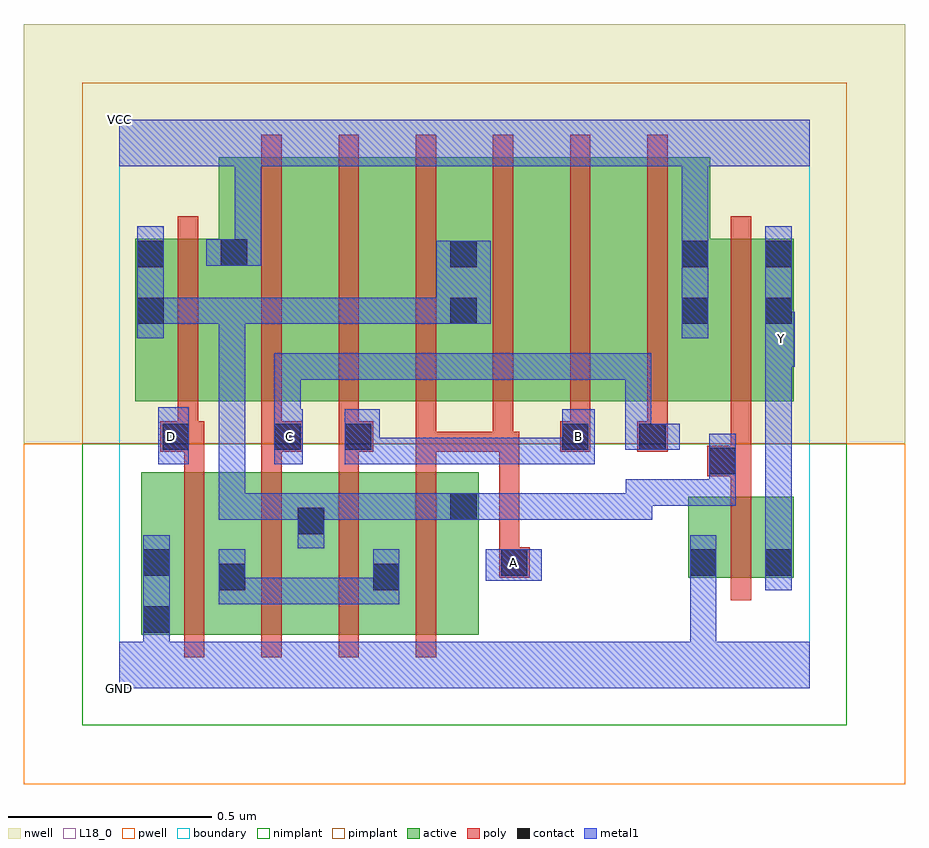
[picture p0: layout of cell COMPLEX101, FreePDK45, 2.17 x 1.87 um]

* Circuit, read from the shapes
.subckt COMPLEX101 A B C D GND VCC Y
M1 n1 D GND VSUBS nfet w=0.4u l=0.05u
M2 n2 C n1 VSUBS nfet w=0.4u l=0.05u
M3 n1 B n2 VSUBS nfet w=0.4u l=0.05u
M4 n2 A n1 VSUBS nfet w=0.4u l=0.05u
M5 Y n2 GND VSUBS nfet w=0.2u l=0.05u
M6 VCC D n2 n3 pfet w=0.4u l=0.05u
M7 n4 C VCC n3 pfet w=0.6u l=0.05u
M8 n5 B n4 n3 pfet w=0.6u l=0.05u
M9 n2 A n5 n3 pfet w=0.6u l=0.05u
M10 n6 A n2 n3 pfet w=0.6u l=0.05u
M11 n7 B n6 n3 pfet w=0.6u l=0.05u
M12 VCC C n7 n3 pfet w=0.6u l=0.05u
M13 Y n2 VCC n3 pfet w=0.4u l=0.05u
.ends

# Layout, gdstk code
import gdstk
lib = gdstk.Library(unit=1e-6, precision=1e-09)
def R(c, l, rs):  # rectangles x0, y0, x1, y1
    for r in rs: c.add(gdstk.rectangle(r[:2], r[2:], *l))
def A(c, l, x, y, w, h, nx, ny, dx, dy):  # array of equal rectangles
    R(c, l, [(x+i*dx, y+j*dy, x+i*dx+w, y+j*dy+h) for i in range(nx) for j in range(ny)])
active = (1, 0)
pwell = (2, 0)
nwell = (3, 0)
nimplant = (4, 0)
pimplant = (5, 0)
poly = (9, 0)
contact = (10, 0)
metal1 = (11, 0)
L18_0 = (18, 0)
boundary = (235, 0)

complex101 = lib.new_cell('COMPLEX101')
R(complex101, active, [(0.055,0.132,0.315,0.532), (0.055,0.132,0.13,0.532), (0.24,0.132,0.51,0.532), (0.435,0.132,0.695,0.532), (0.62,0.132,0.885,0.532), (0.24,0.147,0.315,0.492), (0.435,0.147,0.51,0.492), (0.62,0.147,0.695,0.492), (0.81,0.147,0.885,0.532), (1.4,0.272,1.475,0.472), (1.4,0.272,1.66,0.472), (1.585,0.272,1.66,0.472), (0.04,0.707,0.115,1.107), (0.04,0.707,0.32,1.107), (0.245,0.707,0.47,1.307), (0.47,0.707,0.66,1.307), (0.66,0.707,0.885,1.307), (0.81,0.707,1.04,1.307), (0.81,0.707,0.885,1.2), (1.04,0.707,1.23,1.307), (1.23,0.707,1.455,1.307), (1.38,0.707,1.66,1.107), (1.38,0.707,1.455,1.307), (1.585,0.707,1.66,1.107), (0.245,0.855,0.32,1.11)])
R(complex101, pwell, [(-0.235,-0.235,1.935,0.602)])
R(complex101, nwell, [(-0.235,0.602,1.935,1.635)])
R(complex101, nimplant, [(-0.09,-0.09,1.79,0.602)])
R(complex101, pimplant, [(-0.09,0.602,1.79,1.49)])
A(complex101, poly, 0.16, 0.077, 0.05, 0.51, 4, 1, 0.19, 0)
A(complex101, poly, 0.16, 0.537, 0.05, 0.095, 4, 1, 0.19, 0)
A(complex101, poly, 0.35, 0.652, 0.05, 0.71, 6, 1, 0.19, 0)
R(complex101, poly, [(1.505,0.217,1.555,0.527), (0.935,0.272,1.01,0.347), (0.935,0.297,0.985,0.632), (1.505,0.477,1.555,0.572), (1.447,0.522,1.555,0.597), (1.505,0.547,1.555,0.702), (0.102,0.582,0.21,0.657), (0.35,0.582,0.452,0.657), (0.54,0.582,0.625,0.657), (0.73,0.582,0.78,0.702), (0.73,0.582,0.78,0.632), (0.73,0.582,0.78,0.632), (0.73,0.582,0.78,0.632), (0.73,0.582,0.97,0.632), (0.92,0.582,0.97,0.702), (0.92,0.582,0.985,0.632), (0.935,0.582,0.985,0.632), (0.935,0.582,0.985,0.632), (1.085,0.582,1.16,0.657), (1.275,0.582,1.35,0.657), (0.145,0.607,0.195,0.702), (0.35,0.607,0.4,0.702), (0.54,0.607,0.59,0.702), (1.11,0.607,1.16,0.702), (1.3,0.607,1.35,0.702), (0.145,0.652,0.195,1.162), (1.505,0.652,1.555,1.162)])
R(complex101, contact, [(0.06,0.137,0.125,0.202), (0.245,0.242,0.31,0.307), (0.625,0.242,0.69,0.307), (0.06,0.277,0.125,0.342), (0.94,0.277,1.005,0.342), (1.405,0.277,1.47,0.342), (1.59,0.277,1.655,0.342), (0.44,0.38,0.505,0.445), (0.815,0.415,0.88,0.48), (1.452,0.527,1.517,0.592), (0.107,0.587,0.172,0.652), (0.382,0.587,0.447,0.652), (0.555,0.587,0.62,0.652), (1.09,0.587,1.155,0.652), (1.28,0.587,1.345,0.652), (0.045,0.897,0.11,0.962), (0.815,0.897,0.88,0.962), (1.385,0.897,1.45,0.962), (1.59,0.897,1.655,0.962), (0.045,1.037,0.11,1.102), (0.815,1.037,0.88,1.102), (1.385,1.037,1.45,1.102), (1.59,1.037,1.655,1.102), (0.25,1.04,0.315,1.105)])
R(complex101, metal1, [(0,0,1.7,0.115), (0.06,0.05,0.125,0.167), (1.405,0.05,1.47,0.115), (1.405,0.05,1.47,0.115), (1.405,0.05,1.47,0.307), (0.06,0.102,0.125,0.377), (0.245,0.207,0.31,0.272), (0.245,0.207,0.31,0.272), (0.245,0.207,0.31,0.342), (0.245,0.207,0.505,0.272), (0.44,0.207,0.505,0.272), (0.44,0.207,0.652,0.272), (0.587,0.207,0.652,0.272), (0.587,0.207,0.69,0.272), (0.625,0.207,0.69,0.342), (1.405,0.242,1.47,0.307), (1.405,0.242,1.47,0.307), (1.405,0.242,1.47,0.377), (1.59,0.242,1.655,0.377), (0.902,0.265,1.04,0.342), (1.59,0.312,1.655,0.857), (0.44,0.345,0.505,0.48), (0.245,0.415,0.31,0.48), (0.245,0.415,0.31,0.48), (0.245,0.415,0.31,0.48), (0.245,0.415,0.505,0.48), (0.245,0.415,0.31,0.962), (0.44,0.415,0.642,0.48), (0.577,0.415,0.642,0.48), (0.577,0.415,0.642,0.48), (0.577,0.415,0.642,0.48), (0.577,0.415,0.83,0.48), (0.765,0.415,0.83,0.48), (0.765,0.415,0.845,0.48), (0.78,0.415,0.915,0.48), (0.85,0.415,0.972,0.48), (0.907,0.415,0.972,0.48), (0.907,0.415,1.172,0.48), (1.107,0.415,1.172,0.48), (1.107,0.415,1.172,0.48), (1.107,0.415,1.172,0.48), (1.107,0.415,1.312,0.48), (1.247,0.415,1.312,0.48), (1.247,0.415,1.312,0.48), (1.247,0.415,1.312,0.515), (1.247,0.45,1.517,0.515), (1.452,0.45,1.517,0.515), (1.452,0.45,1.517,0.557), (1.452,0.492,1.517,0.557), (1.452,0.492,1.517,0.557), (1.452,0.492,1.517,0.627), (0.097,0.552,0.172,0.692), (0.382,0.552,0.452,0.687), (0.555,0.552,0.642,0.687), (0.577,0.552,0.642,0.617), (0.577,0.552,0.642,0.617), (0.577,0.552,0.83,0.617), (0.765,0.552,0.83,0.617), (0.765,0.552,0.967,0.617), (0.902,0.552,0.967,0.617), (0.902,0.552,0.967,0.617), (0.902,0.552,0.967,0.617), (0.902,0.552,1.155,0.617), (1.09,0.552,1.155,0.617), (1.09,0.552,1.155,0.617), (1.09,0.552,1.17,0.687), (1.245,0.587,1.31,0.652), (1.245,0.587,1.31,0.652), (1.245,0.587,1.38,0.652), (1.245,0.587,1.31,0.825), (0.382,0.622,0.447,0.687), (0.382,0.622,0.447,0.825), (0.382,0.622,0.452,0.687), (0.382,0.76,0.447,0.825), (0.382,0.76,0.642,0.825), (0.577,0.76,0.642,0.825), (0.577,0.76,0.642,0.825), (0.577,0.76,0.642,0.825), (0.577,0.76,0.83,0.825), (0.765,0.76,0.83,0.825), (0.765,0.76,0.972,0.825), (0.907,0.76,0.972,0.825), (0.907,0.76,0.972,0.825), (0.907,0.76,0.972,0.825), (0.907,0.76,1.11,0.825), (1.045,0.76,1.11,0.825), (1.045,0.76,1.11,0.825), (1.045,0.76,1.11,0.825), (1.045,0.76,1.31,0.825), (1.245,0.76,1.31,0.825), (1.59,0.792,1.662,0.927), (0.045,0.862,0.11,1.137), (1.385,0.862,1.45,1.137), (1.59,0.862,1.655,0.927), (1.59,0.862,1.655,1.137), (0.045,0.897,0.11,0.962), (0.045,0.897,0.11,0.962), (0.045,0.897,0.31,0.962), (0.245,0.897,0.31,0.962), (0.245,0.897,0.31,0.962), (0.245,0.897,0.31,0.962), (0.245,0.897,0.31,0.962), (0.245,0.897,0.31,0.962), (0.245,0.897,0.31,0.962), (0.245,0.897,0.31,0.962), (0.245,0.897,0.505,0.962), (0.44,0.897,0.505,0.962), (0.44,0.897,0.642,0.962), (0.577,0.897,0.642,0.962), (0.577,0.897,0.642,0.962), (0.577,0.897,0.642,0.962), (0.577,0.897,0.79,0.962), (0.725,0.897,0.79,0.962), (0.725,0.897,0.845,0.962), (0.78,0.897,0.915,1.102), (0.215,1.04,0.35,1.105), (0.285,1.04,0.35,1.35), (1.385,1.072,1.45,1.35), (0,1.285,1.7,1.4)])
R(complex101, L18_0, [(0,0,1.7,0.115), (0.06,0.05,0.125,0.167), (1.405,0.05,1.47,0.115), (1.405,0.05,1.47,0.115), (1.405,0.05,1.47,0.307), (0.06,0.102,0.125,0.377), (1.405,0.242,1.47,0.307), (1.405,0.242,1.47,0.307), (1.405,0.242,1.47,0.377), (1.59,0.242,1.655,0.377), (0.902,0.265,1.04,0.342), (0.937,0.277,1.002,0.342), (1.59,0.312,1.655,0.857), (0.097,0.552,0.172,0.692), (0.382,0.552,0.452,0.687), (0.555,0.552,0.642,0.687), (0.577,0.552,0.642,0.617), (0.577,0.552,0.642,0.617), (0.577,0.552,0.83,0.617), (0.765,0.552,0.83,0.617), (0.765,0.552,0.967,0.617), (0.902,0.552,0.967,0.617), (0.902,0.552,0.967,0.617), (0.902,0.552,0.967,0.617), (0.902,0.552,1.155,0.617), (1.09,0.552,1.155,0.617), (1.09,0.552,1.155,0.617), (1.09,0.552,1.17,0.687), (0.097,0.587,0.162,0.652), (0.387,0.587,0.452,0.652), (1.097,0.587,1.162,0.652), (1.245,0.587,1.38,0.652), (1.245,0.587,1.31,0.652), (1.245,0.587,1.31,0.652), (1.245,0.587,1.31,0.825), (0.382,0.622,0.452,0.687), (0.382,0.622,0.447,0.687), (0.382,0.622,0.447,0.825), (0.382,0.76,0.447,0.825), (0.382,0.76,0.642,0.825), (0.577,0.76,0.642,0.825), (0.577,0.76,0.642,0.825), (0.577,0.76,0.642,0.825), (0.577,0.76,0.83,0.825), (0.765,0.76,0.83,0.825), (0.765,0.76,0.972,0.825), (0.907,0.76,0.972,0.825), (0.907,0.76,0.972,0.825), (0.907,0.76,0.972,0.825), (0.907,0.76,1.11,0.825), (1.045,0.76,1.11,0.825), (1.045,0.76,1.11,0.825), (1.045,0.76,1.11,0.825), (1.045,0.76,1.31,0.825), (1.245,0.76,1.31,0.825), (1.59,0.792,1.662,0.927), (1.597,0.827,1.662,0.892), (1.385,0.862,1.45,1.137), (1.59,0.862,1.655,1.137), (1.59,0.862,1.655,0.927), (0.215,1.04,0.35,1.105), (0.285,1.04,0.35,1.35), (1.385,1.072,1.45,1.35), (0,1.285,1.7,1.4)])
R(complex101, boundary, [(0,0,1.7,1.4)])
complex101.add(gdstk.Label('A', (0.97,0.31), layer=11, texttype=0))
complex101.add(gdstk.Label('B', (1.13,0.62), layer=11, texttype=0))
complex101.add(gdstk.Label('C', (0.42,0.62), layer=11, texttype=0))
complex101.add(gdstk.Label('D', (0.13,0.62), layer=11, texttype=0))
complex101.add(gdstk.Label('Y', (1.63,0.86), layer=11, texttype=0))
complex101.add(gdstk.Label('VCC', (0,1.4), layer=11, texttype=0))
complex101.add(gdstk.Label('GND', (0,0), layer=11, texttype=0))

lib.write_gds('COMPLEX101.gds')
